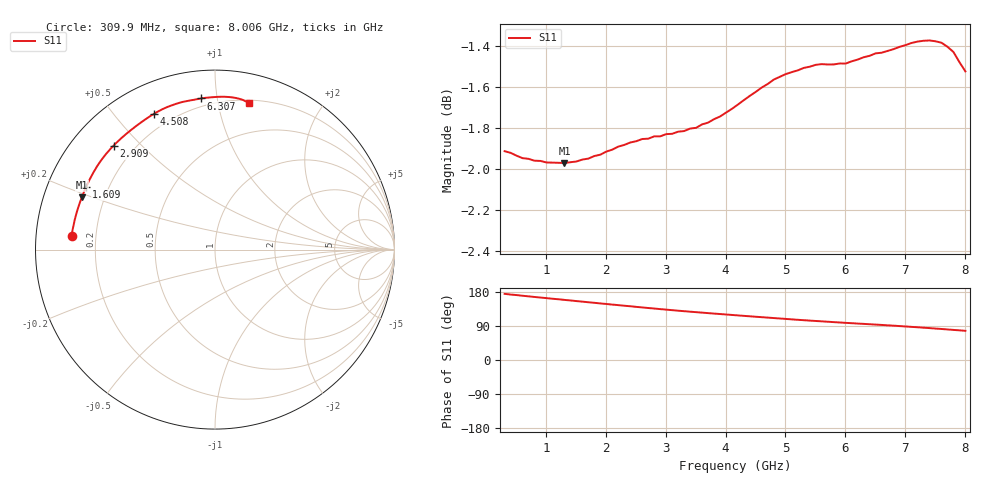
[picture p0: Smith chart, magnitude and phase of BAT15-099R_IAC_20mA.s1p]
! Infineon Technologies  Discrete & RF Semiconductors
! BAT15-099R
! IAC = 20 mA
! One-Port S-Parameters
# Hz  S  MA  R  50
!f  S11
!Hz  Mag  Ang
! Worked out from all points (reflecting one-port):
!   78 points, 309.9 MHz to 8.006 GHz, reference 50 ohm
!   lowest |S11| = -2.0 dB at 1.309 GHz (marker M1), VSWR 8.85, Z = 5.85 + j9.32 ohm
!   phase of S11 starts at 175 deg and turns -97 deg over the sweep
!   S11 on the Smith chart (normalised r, x): 309.9 MHz: 0.11, +0.05; 1.609 GHz: 0.12, +0.23; 2.909 GHz: 0.12, +0.42; 4.508 GHz: 0.13, +0.64; 6.307 GHz: 0.15, +0.90; 8.006 GHz: 0.22, +1.23
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3.0985e8  0.8023 174.5
4.098e8  0.8016 172.8
5.0975e8  0.8003 171.3
7.0965e8  0.7989 168.0
1.0095e9  0.7973 163.3
1.30935e9  0.7971 158.6
1.6092e9  0.7986 154.0
2.009e9  0.8022 147.8
2.30885e9  0.8052 143.2
2.4088e9  0.8062 141.8
2.70865e9  0.808 137.2
2.90855e9  0.809 134.3
3.2084e9  0.8111 130.1
3.6082e9  0.8145 125.0
4.2079e9  0.8236 117.6
4.50775e9  0.8295 114.1
4.8076e9  0.8352 110.7
5.2074e9  0.8395 106.1
5.50725e9  0.8421 103.0
6.007e9  0.8427 98.0
6.10695e9  0.8437 97.1
6.30685e9  0.8456 95.3
6.8066e9  0.8495 90.6
7.10645e9  0.8524 87.4
7.4063e9  0.8536 84.2
7.6062e9  0.8526 81.9
7.8061e9  0.8481 79.4
8.006e9  0.839 77.1
